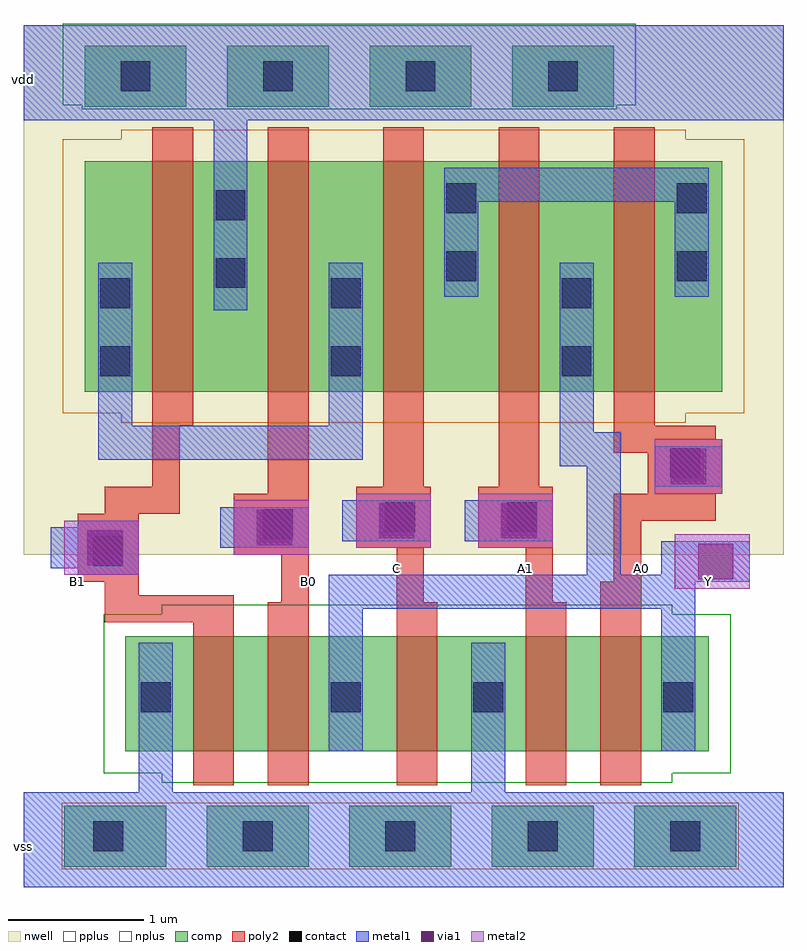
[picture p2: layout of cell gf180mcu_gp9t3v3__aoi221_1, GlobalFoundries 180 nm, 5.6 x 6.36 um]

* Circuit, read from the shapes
.subckt gf180mcu_gp9t3v3__aoi221_1 A0 A1 B0 B1 C Y vdd vss
XM1 n1 B1 vss vss nfet_03v3 w=0.85u l=0.3u
XM2 Y B0 n1 vss nfet_03v3 w=0.85u l=0.3u
XM3 vss C Y vss nfet_03v3 w=0.85u l=0.3u
XM4 n2 A1 vss vss nfet_03v3 w=0.85u l=0.3u
XM5 Y A0 n2 vss nfet_03v3 w=0.85u l=0.3u
XM6 vdd B1 n3 vdd pfet_03v3 w=1.7u l=0.3u
XM7 n3 B0 vdd vdd pfet_03v3 w=1.7u l=0.3u
XM8 n4 C n3 vdd pfet_03v3 w=1.7u l=0.3u
XM9 Y A1 n4 vdd pfet_03v3 w=1.7u l=0.3u
XM10 n4 A0 Y vdd pfet_03v3 w=1.7u l=0.3u
.ends

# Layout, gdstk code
import gdstk
lib = gdstk.Library(unit=1e-6, precision=1e-09)
def R(c, l, rs):  # rectangles x0, y0, x1, y1
    for r in rs: c.add(gdstk.rectangle(r[:2], r[2:], *l))
def A(c, l, x, y, w, h, nx, ny, dx, dy):  # array of equal rectangles
    R(c, l, [(x+i*dx, y+j*dy, x+i*dx+w, y+j*dy+h) for i in range(nx) for j in range(ny)])
nwell = (21, 0)
comp = (22, 0)
poly2 = (30, 0)
pplus = (31, 0)
nplus = (32, 0)
contact = (33, 0)
metal1 = (34, 0)
via1 = (35, 0)
metal2 = (36, 0)

gf180mcu_gp9t3v3__aoi221 = lib.new_cell('gf180mcu_gp9t3v3__aoi221_1')
R(gf180mcu_gp9t3v3__aoi221, nwell, [(-0.3,2.2,5.3,6.1)])
A(gf180mcu_gp9t3v3__aoi221, comp, 0, -0.1, 0.75, 0.45, 5, 1, 1.05, 0)
A(gf180mcu_gp9t3v3__aoi221, comp, 0.15, 5.5, 0.75, 0.45, 4, 1, 1.05, 0)
R(gf180mcu_gp9t3v3__aoi221, comp, [(0.45,0.75,4.75,1.6), (0.15,3.4,4.85,5.1)])
A(gf180mcu_gp9t3v3__aoi221, poly2, 1.5, 0.5, 0.3, 1.35, 3, 1, 0.95, 0)
R(gf180mcu_gp9t3v3__aoi221, poly2, [(0.95,0.5,1.25,1.7), (3.95,0.5,4.25,2), (0.3,1.7,1.25,1.9), (1.6,1.85,1.8,2.2), (2.45,1.85,2.65,2.25), (3.4,1.85,3.6,2.25), (0.3,1.9,0.55,2), (0.1,2,0.55,2.5), (4.05,2,4.25,2.45), (1.25,2.2,1.8,2.65), (2.15,2.25,2.7,2.7), (3.05,2.25,3.6,2.7), (4.05,2.45,4.8,2.65), (0.3,2.5,0.85,2.7), (1.5,2.65,1.8,5.35), (4.3,2.65,4.85,2.95), (0.65,2.7,0.85,3.15), (2.35,2.7,2.65,5.35), (3.2,2.7,3.5,5.35), (4.05,2.95,4.85,3.05), (4.05,3.05,4.8,3.15), (0.65,3.15,0.95,5.35), (4.05,3.15,4.35,5.35)])
R(gf180mcu_gp9t3v3__aoi221, pplus, [(-0.02,-0.12,4.97,0.37), (0.42,3.17,4.58,3.24), (-0.01,3.24,5.01,5.26), (0.42,5.26,4.58,5.33)])
R(gf180mcu_gp9t3v3__aoi221, nplus, [(0.72,0.52,4.48,0.59), (0.29,0.59,4.91,1.76), (0.72,1.76,4.48,1.83), (0.13,5.48,4.07,5.51), (-0.01,5.51,4.21,6.11)])
A(gf180mcu_gp9t3v3__aoi221, contact, 1.315, 0.015, 0.22, 0.22, 4, 1, 1.05, 0)
A(gf180mcu_gp9t3v3__aoi221, contact, 0.265, 3.515, 0.22, 0.22, 3, 2, 1.7, 0.5)
A(gf180mcu_gp9t3v3__aoi221, contact, 0.415, 5.615, 0.22, 0.22, 4, 1, 1.05, 0)
R(gf180mcu_gp9t3v3__aoi221, contact, [(0.215,0.015,0.435,0.235), (0.565,1.04,0.785,1.26), (1.965,1.04,2.185,1.26), (3.015,1.04,3.235,1.26), (4.415,1.04,4.635,1.26), (0.215,2.115,0.435,2.335), (1.465,2.315,1.685,2.535), (2.365,2.365,2.585,2.585), (3.265,2.365,3.485,2.585), (4.465,2.765,4.685,2.985), (1.115,4.165,1.335,4.385), (2.815,4.215,3.035,4.435), (4.515,4.215,4.735,4.435), (1.115,4.665,1.335,4.885), (2.815,4.715,3.035,4.935), (4.515,4.715,4.735,4.935)])
R(gf180mcu_gp9t3v3__aoi221, metal1, [(-0.3,-0.25,5.3,0.45), (0.55,0.45,0.8,1.55), (3,0.45,3.25,1.55), (1.95,0.75,2.2,1.8), (4.4,0.75,4.65,1.8), (1.95,1.8,4.65,2), (1.95,2,5.05,2.05), (0.1,2.05,0.55,2.1), (3.85,2.05,4.1,2.85), (4.4,2.05,5.05,2.3), (-0.1,2.1,0.55,2.4), (1.15,2.25,1.8,2.55), (2.05,2.3,2.7,2.6), (2.95,2.3,3.6,2.6), (0.1,2.4,0.55,2.45), (4.35,2.7,4.85,3), (3.65,2.85,4.1,3.1), (0.25,2.9,2.2,3.15), (3.65,3.1,3.9,4.35), (0.25,3.15,0.5,4.35), (1.95,3.15,2.2,4.35), (1.1,4,1.35,5.4), (2.8,4.1,3.05,4.8), (4.5,4.1,4.75,4.8), (2.8,4.8,4.75,5.05), (-0.3,5.4,5.3,6.1)])
R(gf180mcu_gp9t3v3__aoi221, via1, [(4.67,2.02,4.93,2.28), (0.17,2.12,0.43,2.38), (1.42,2.27,1.68,2.53), (2.32,2.32,2.58,2.58), (3.22,2.32,3.48,2.58), (4.47,2.72,4.73,2.98)])
R(gf180mcu_gp9t3v3__aoi221, metal2, [(4.5,1.95,5.05,2.35), (0,2.05,0.55,2.45), (1.25,2.2,1.8,2.6), (2.15,2.25,2.7,2.65), (3.05,2.25,3.6,2.65), (4.35,2.65,4.85,3.05)])
gf180mcu_gp9t3v3__aoi221.add(gdstk.Label('vdd', (-0.3,5.7), layer=34, texttype=0))
gf180mcu_gp9t3v3__aoi221.add(gdstk.Label('vss', (-0.3,0.05), layer=34, texttype=0))
gf180mcu_gp9t3v3__aoi221.add(gdstk.Label('B0', (1.8,2), layer=30, texttype=0))
gf180mcu_gp9t3v3__aoi221.add(gdstk.Label('A1', (3.4,2.1), layer=30, texttype=0))
gf180mcu_gp9t3v3__aoi221.add(gdstk.Label('C', (2.45,2.1), layer=30, texttype=0))
gf180mcu_gp9t3v3__aoi221.add(gdstk.Label('B1', (0.1,2), layer=30, texttype=0))
gf180mcu_gp9t3v3__aoi221.add(gdstk.Label('A0', (4.25,2.1), layer=30, texttype=0))
gf180mcu_gp9t3v3__aoi221.add(gdstk.Label('Y', (4.75,2), layer=36, texttype=0))

lib.write_gds('gf180mcu_gp9t3v3__aoi221_1.gds')
